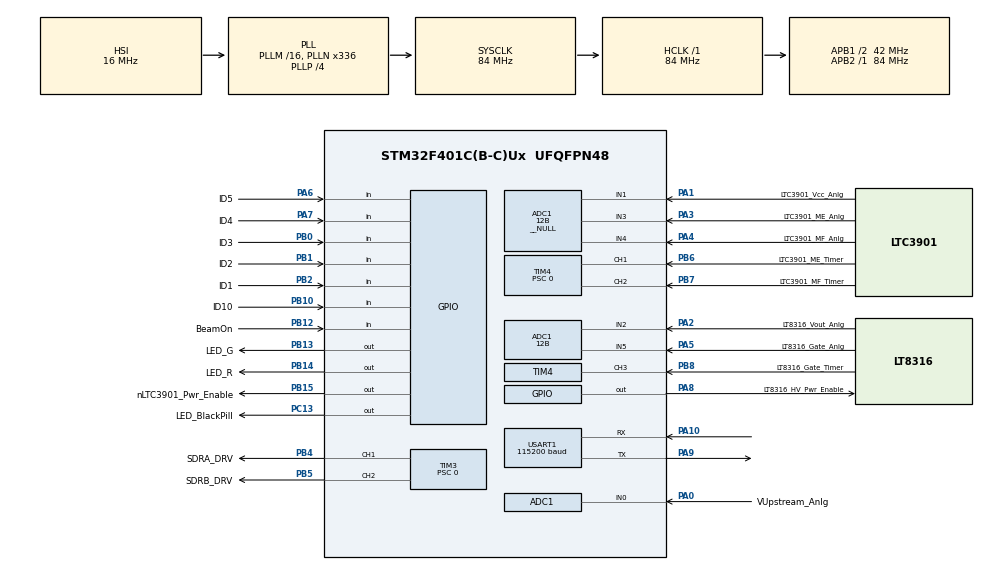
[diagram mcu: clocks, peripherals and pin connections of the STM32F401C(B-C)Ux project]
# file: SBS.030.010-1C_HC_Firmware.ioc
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ADC1.Channel-IN0=ADC_CHANNEL_0
ADC1.Channel-IN1=ADC_CHANNEL_1
ADC1.Channel-IN2=ADC_CHANNEL_2
ADC1.Channel-IN3=ADC_CHANNEL_3
ADC1.Channel-IN4=ADC_CHANNEL_4
ADC1.Channel-IN5=ADC_CHANNEL_5
ADC1.ClockPrescaler=ADC_CLOCK_SYNC_PCLK_DIV4
ADC1.ContinuousConvMode=DISABLE
ADC1.DMAContinuousRequests=DISABLE
ADC1.DataAlign=ADC_DATAALIGN_RIGHT
ADC1.DiscontinuousConvMode=DISABLE
ADC1.EOCSelection=ADC_EOC_SINGLE_CONV
ADC1.EnableAnalogWatchDog=false
ADC1.ExternalTrigConv=ADC_SOFTWARE_START
ADC1.ExternalTrigConvEdge=ADC_EXTERNALTRIGCONVEDGE_NONE
ADC1.InjNumberOfConversion=0
ADC1.Mode=__NULL
ADC1.NbrOfConversion=1
ADC1.Rank-0\#ChannelRegularConversion=1
ADC1.Resolution=ADC_RESOLUTION_12B
ADC1.SamplingTime-0\#ChannelRegularConversion=ADC_SAMPLETIME_3CYCLES
ADC1.ScanConvMode=DISABLE
ADC1.master=1
Dma.Request0=USART1_RX
Dma.Request1=TIM4_CH3
Dma.TIM4_CH3.1.Direction=DMA_PERIPH_TO_MEMORY
Dma.TIM4_CH3.1.FIFOMode=DMA_FIFOMODE_DISABLE
Dma.TIM4_CH3.1.Instance=DMA1_Stream7
Dma.TIM4_CH3.1.MemDataAlignment=DMA_MDATAALIGN_HALFWORD
Dma.TIM4_CH3.1.MemInc=DMA_MINC_ENABLE
Dma.TIM4_CH3.1.Mode=DMA_NORMAL
Dma.TIM4_CH3.1.PeriphDataAlignment=DMA_PDATAALIGN_HALFWORD
Dma.TIM4_CH3.1.PeriphInc=DMA_PINC_DISABLE
Dma.TIM4_CH3.1.Priority=DMA_PRIORITY_LOW
Dma.USART1_RX.0.Direction=DMA_PERIPH_TO_MEMORY
Dma.USART1_RX.0.FIFOMode=DMA_FIFOMODE_DISABLE
Dma.USART1_RX.0.Instance=DMA2_Stream2
Dma.USART1_RX.0.MemDataAlignment=DMA_MDATAALIGN_BYTE
Dma.USART1_RX.0.MemInc=DMA_MINC_ENABLE
Dma.USART1_RX.0.Mode=DMA_CIRCULAR
Dma.USART1_RX.0.PeriphDataAlignment=DMA_PDATAALIGN_BYTE
Dma.USART1_RX.0.PeriphInc=DMA_PINC_DISABLE
Dma.USART1_RX.0.Priority=DMA_PRIORITY_LOW
Mcu.Family=STM32F4
Mcu.Name=STM32F401C(B-C)Ux
Mcu.Package=UFQFPN48
NVIC.DMA1_Stream7_IRQn=true\:0\:0\:false\:false\:true\:false\:true\:true
NVIC.DMA2_Stream2_IRQn=true\:0\:0\:false\:false\:true\:false\:true\:true
NVIC.PriorityGroup=NVIC_PRIORITYGROUP_4
NVIC.USART1_IRQn=true\:0\:0\:false\:false\:true\:true\:true\:true
PA0-WKUP.GPIO_Label=VUpstream_Anlg
PA0-WKUP.Signal=ADCx_IN0
PA1.GPIO_Label=LTC3901_Vcc_Anlg
PA1.Signal=ADCx_IN1
PA10.Mode=Asynchronous
PA10.Signal=USART1_RX
PA13.Mode=Serial_Wire
PA13.Signal=SYS_JTMS-SWDIO
PA14.Mode=Serial_Wire
PA14.Signal=SYS_JTCK-SWCLK
PA2.GPIO_Label=LT8316_Vout_Anlg
PA2.Signal=ADCx_IN2
PA3.GPIO_Label=LTC3901_ME_Anlg
PA3.Signal=ADCx_IN3
PA4.GPIO_Label=LTC3901_MF_Anlg
PA4.Signal=ADCx_IN4
PA5.GPIO_Label=LT8316_Gate_Anlg
PA5.Signal=ADCx_IN5
PA6.GPIO_Label=ID5
PA6.Signal=GPIO_Input
PA7.GPIO_Label=ID4
PA7.Signal=GPIO_Input
PA8.GPIO_Label=LT8316_HV_Pwr_Enable
PA8.PinState=GPIO_PIN_SET
PA8.Signal=GPIO_Output
PA9.Mode=Asynchronous
PA9.Signal=USART1_TX
PB0.GPIO_Label=ID3
PB0.Signal=GPIO_Input
PB1.GPIO_Label=ID2
PB1.Signal=GPIO_Input
PB10.GPIO_Label=ID10
PB10.Signal=GPIO_Input
PB12.GPIO_Label=BeamOn
PB12.Signal=GPIO_Input
PB13.GPIO_Label=LED_G
PB13.PinState=GPIO_PIN_SET
PB13.Signal=GPIO_Output
PB14.GPIO_Label=LED_R
PB14.PinState=GPIO_PIN_SET
PB14.Signal=GPIO_Output
PB15.GPIO_Label=nLTC3901_Pwr_Enable
PB15.Signal=GPIO_Output
PB2.GPIO_Label=ID1
PB2.Signal=GPIO_Input
PB4.GPIO_Label=SDRA_DRV
PB4.Signal=S_TIM3_CH1
PB5.GPIO_Label=SDRB_DRV
PB5.Signal=S_TIM3_CH2
PB6.GPIO_Label=LTC3901_ME_Timer
PB6.Signal=S_TIM4_CH1
PB7.GPIO_Label=LTC3901_MF_Timer
PB7.Signal=S_TIM4_CH2
PB8.GPIO_Label=LT8316_Gate_Timer
PB8.Signal=S_TIM4_CH3
PC13-ANTI_TAMP.GPIO_Label=LED_BlackPill
PC13-ANTI_TAMP.PinState=GPIO_PIN_SET
PC13-ANTI_TAMP.Signal=GPIO_Output
PC14-OSC32_IN.Mode=LSE-External-Oscillator
PC14-OSC32_IN.Signal=RCC_OSC32_IN
PC15-OSC32_OUT.Mode=LSE-External-Oscillator
PC15-OSC32_OUT.Signal=RCC_OSC32_OUT
PH0\ -\ OSC_IN.Mode=HSE-External-Oscillator
PH0\ -\ OSC_IN.Signal=RCC_OSC_IN
PH1\ -\ OSC_OUT.Mode=HSE-External-Oscillator
PH1\ -\ OSC_OUT.Signal=RCC_OSC_OUT
ProjectManager.HeapSize=0x200
ProjectManager.StackSize=0x400
ProjectManager.TargetToolchain=Makefile
RCC.48MHZClocksFreq_Value=48000000
RCC.AHBFreq_Value=84000000
RCC.APB1CLKDivider=RCC_HCLK_DIV2
RCC.APB1Freq_Value=42000000
RCC.APB1TimFreq_Value=84000000
RCC.APB2Freq_Value=84000000
RCC.APB2TimFreq_Value=84000000
RCC.CortexFreq_Value=84000000
RCC.HCLKFreq_Value=84000000
RCC.HSE_VALUE=25000000
RCC.HSI_VALUE=16000000
RCC.PLLM=25
RCC.PLLN=336
RCC.PLLP=RCC_PLLP_DIV4
RCC.PLLQ=7
RCC.PLLSourceVirtual=RCC_PLLSOURCE_HSE
RCC.SYSCLKFreq_VALUE=84000000
RCC.SYSCLKSource=RCC_SYSCLKSOURCE_PLLCLK
RCC.VCOOutputFreq_Value=336000000
SH.ADCx_IN0.0=ADC1_IN0,IN0
SH.ADCx_IN1.0=ADC1_IN1,IN1
SH.ADCx_IN2.0=ADC1_IN2,IN2
SH.ADCx_IN3.0=ADC1_IN3,IN3
SH.ADCx_IN4.0=ADC1_IN4,IN4
SH.ADCx_IN5.0=ADC1_IN5,IN5
SH.S_TIM3_CH1.0=TIM3_CH1,Output Compare1 CH1
SH.S_TIM3_CH2.0=TIM3_CH2,Output Compare2 CH2
SH.S_TIM4_CH1.0=TIM4_CH1,Input_Capture1_from_TI1
SH.S_TIM4_CH2.0=TIM4_CH2,Input_Capture2_from_TI2
SH.S_TIM4_CH3.0=TIM4_CH3,Input_Capture3_from_TI3
TIM2.AutoReloadPreload=TIM_AUTORELOAD_PRELOAD_DISABLE
TIM2.ClockDivision=TIM_CLOCKDIVISION_DIV1
TIM2.CounterMode=TIM_COUNTERMODE_UP
TIM2.Period=4294967295
TIM2.Prescaler=0
TIM2.TIM_MasterOutputTrigger=TIM_TRGO_RESET
TIM2.TIM_MasterSlaveMode=TIM_MASTERSLAVEMODE_DISABLE
TIM3.AutoReloadPreload=TIM_AUTORELOAD_PRELOAD_DISABLE
TIM3.Channel-Output\ Compare1\ CH1=TIM_CHANNEL_1
TIM3.Channel-Output\ Compare2\ CH2=TIM_CHANNEL_2
TIM3.ClockDivision=TIM_CLOCKDIVISION_DIV1
TIM3.CounterMode=TIM_COUNTERMODE_UP
TIM3.OC1Preload=DISABLE
TIM3.OC2Preload=DISABLE
TIM3.OCMode_1=TIM_OCMODE_TIMING
TIM3.OCMode_2=TIM_OCMODE_TIMING
TIM3.OCPolarity_1=TIM_OCPOLARITY_HIGH
TIM3.OCPolarity_2=TIM_OCPOLARITY_HIGH
TIM3.Period=65535
TIM3.Prescaler=0
TIM3.Pulse-Output\ Compare1\ CH1=0
TIM3.Pulse-Output\ Compare2\ CH2=0
TIM3.TIM_MasterOutputTrigger=TIM_TRGO_RESET
TIM3.TIM_MasterSlaveMode=TIM_MASTERSLAVEMODE_DISABLE
TIM4.AutoReloadPreload=TIM_AUTORELOAD_PRELOAD_DISABLE
TIM4.Channel-Input_Capture1_from_TI1=TIM_CHANNEL_1
TIM4.Channel-Input_Capture2_from_TI2=TIM_CHANNEL_2
TIM4.Channel-Input_Capture3_from_TI3=TIM_CHANNEL_3
TIM4.Channel-Input_Capture4_from_TI3_63=TIM_CHANNEL_4
TIM4.ClockDivision=TIM_CLOCKDIVISION_DIV1
TIM4.CounterMode=TIM_COUNTERMODE_UP
TIM4.ICFilter_CH1=0
TIM4.ICFilter_CH2=0
TIM4.ICFilter_CH3=0
TIM4.ICPolarity_CH1=TIM_INPUTCHANNELPOLARITY_RISING
TIM4.ICPolarity_CH2=TIM_INPUTCHANNELPOLARITY_RISING
TIM4.ICPolarity_CH3=TIM_INPUTCHANNELPOLARITY_RISING
TIM4.ICPrescaler-Input_Capture1_from_TI1=TIM_ICPSC_DIV1
TIM4.ICPrescaler-Input_Capture2_from_TI2=TIM_ICPSC_DIV1
TIM4.ICPrescaler-Input_Capture3_from_TI3=TIM_ICPSC_DIV1
TIM4.ICSelection-Input_Capture1_from_TI1=TIM_ICSELECTION_DIRECTTI
TIM4.ICSelection-Input_Capture2_from_TI2=TIM_ICSELECTION_DIRECTTI
TIM4.ICSelection-Input_Capture3_from_TI3=TIM_ICSELECTION_DIRECTTI
TIM4.Period=65535
TIM4.Prescaler=0
TIM4.TIM_MasterOutputTrigger=TIM_TRGO_RESET
TIM4.TIM_MasterSlaveMode=TIM_MASTERSLAVEMODE_DISABLE
USART1.BaudRate=115200
USART1.Mode=MODE_TX_RX
USART1.OverSampling=UART_OVERSAMPLING_16
USART1.Parity=PARITY_NONE
USART1.StopBits=STOPBITS_1
USART1.VirtualMode=VM_ASYNC
USART1.WordLength=WORDLENGTH_8B
VP_ADC1_TempSens_Input.Mode=IN-TempSens
VP_ADC1_Vref_Input.Mode=IN-Vrefint
VP_TIM2_VS_ClockSourceINT.Mode=Internal
VP_TIM4_VS_indirect_ch3.Mode=Input_Capture4_from_TI3_63
board=custom

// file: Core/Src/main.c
/* USER CODE BEGIN Header */
/**
  ******************************************************************************
  * @file           : main.c
  * @brief          : Main program body
  ******************************************************************************
  * @attention
  *
  * Copyright (c) 2026 STMicroelectronics.
  * All rights reserved.
  *
  * This software is licensed under terms that can be found in the LICENSE file
  * in the root directory of this software component.
  * If no LICENSE file comes with this software, it is provided AS-IS.
  *
  ******************************************************************************
  */
/* USER CODE END Header */
#include "main.h"
#include "adc.h"
#include "dma.h"
#include "tim.h"
#include "usart.h"
#include "gpio.h"

/* USER CODE BEGIN Includes */
#include "UartIO.h"
#include "TimeSinceBoot.h"
#include "Rfc5424.h"
#include "Stimulus.h"
#include "terminal.h"
#include <stdio.h>
/* USER CODE END Includes */
/* USER CODE END Includes */

/* USER CODE BEGIN PV */
static uint32_t last_tsb_report_ms = 0U;
static uint8_t g_device_id = 0U;
static volatile const char *g_error_context = "reset";
static volatile uint8_t g_uart1_ready = 0U;
/* USER CODE END PV */

void SystemClock_Config(void);
/* USER CODE BEGIN PFP */
static void FormatTsb(char *out, size_t out_size, uint32_t tsb_ms);
int __io_getchar(void);
int __io_putchar(int ch);

/* USER CODE BEGIN 0 */
static void FormatTsb(char *out, size_t out_size, uint32_t tsb_ms)
{
  uint32_t total_seconds = tsb_ms / 1000U;
  uint32_t ms = tsb_ms % 1000U;
  uint32_t days = total_seconds / 86400U;
  uint32_t hours = (total_seconds % 86400U) / 3600U;
  uint32_t minutes = (total_seconds % 3600U) / 60U;
  uint32_t seconds = total_seconds % 60U;

  snprintf(out, out_size, "%08lu %02lu:%02lu:%02lu.%03lu",
           (unsigned long)days,
           (unsigned long)hours,
           (unsigned long)minutes,
           (unsigned long)seconds,
           (unsigned long)ms);
}
/* USER CODE END 0 */

int main(void)
{
  /* USER CODE BEGIN 1 */
  char rfc5424_app_name[8];
  char tsb_text[32];
  /* USER CODE END 1 */

  /* MCU Configuration--------------------------------------------------------*/

  /* Reset of all peripherals, Initializes the Flash interface and the Systick. */
  HAL_Init();

  /* Configure the system clock */
  SystemClock_Config();

  /* Initialize all configured peripherals */
  MX_GPIO_Init();
  MX_DMA_Init();
  MX_ADC1_Init();
  MX_TIM2_Init();
  MX_TIM3_Init();
  MX_TIM4_Init();
  MX_USART1_UART_Init();

  /* USER CODE BEGIN 2 */
  g_uart1_ready = 1U;
  UartIO_Init(&huart1);
    printf("\r\nUART1 Initialized\r\n");
//  TSB_Init();
  Terminal_DebugCheckpoint("TSB_Init_done", &g_error_context);

  while (1) {
    HAL_GPIO_TogglePin(LED_BlackPill_GPIO_Port, LED_BlackPill_Pin);
    HAL_Delay(500U);
  }

  snprintf(rfc5424_app_name, sizeof(rfc5424_app_name), "ID=%02u", (unsigned)(g_device_id & 0x3FU));
  RFC5424_Init("-", rfc5424_app_name, "-", "BOOT");
  Terminal_DebugCheckpoint("RFC5424_Init_done", &g_error_context);

  if (ADC1_StartContinuousDma() != HAL_OK)
  {
    g_error_context = "ADC1_StartContinuousDma_failed";
    Error_Handler();
  }
  Terminal_DebugCheckpoint("ADC1_StartContinuousDma_done", &g_error_context);

  if (Stimulus_Init() != HAL_OK)
  {
    g_error_context = "Stimulus_Init_failed";
    Error_Handler();
  }
  Terminal_DebugCheckpoint("Stimulus_Init_done", &g_error_context);

  if (Stimulus_SetFrequencyHz(1000U) != HAL_OK)
  {
    g_error_context = "Stimulus_SetFrequency_failed";
    Error_Handler();
  }
  Terminal_DebugCheckpoint("Stimulus_SetFrequency_done", &g_error_context);

  if (Stimulus_SetMode(STIMULUS_MODE_OPPOSED) != HAL_OK)
  {
    g_error_context = "Stimulus_SetMode_failed";
    Error_Handler();
  }
  Terminal_DebugCheckpoint("Stimulus_SetMode_done", &g_error_context);

  if (Stimulus_Start() != HAL_OK)
  {
    g_error_context = "Stimulus_Start_failed";
    Error_Handler();
  }
  Terminal_DebugCheckpoint("Stimulus_Start_done", &g_error_context);

  FormatTsb(tsb_text, sizeof(tsb_text), TSB_GetMs());
  RFC5424_Logf(SYSLOG_FACILITY_LOCAL0,
               SYSLOG_SEV_INFO,
               "BOOT",
               "%s - BOOTING... SDRA/SDRB stimulus started at %lu Hz mode=%u ADC[%u,%u,%u,%u,%u,%u]",
               tsb_text,
               (unsigned long)Stimulus_GetFrequencyHz(),
               (unsigned)Stimulus_GetMode(),
               g_adc1_samples[0],
               g_adc1_samples[1],
               g_adc1_samples[2],
               g_adc1_samples[3],
               g_adc1_samples[4],
               g_adc1_samples[5]);
  /* USER CODE END 2 */

  /* Infinite loop */
  while (1)
  {

    /* USER CODE BEGIN 3 */
    uint32_t tsb_ms = TSB_GetMs();
    int c = __io_getchar();

    if (c != EOF)
    {
      __io_putchar((uint8_t)c);
    }

    if ((tsb_ms - last_tsb_report_ms) >= 1000U)
    {
      last_tsb_report_ms = tsb_ms;
      FormatTsb(tsb_text, sizeof(tsb_text), tsb_ms);
      RFC5424_Logf(SYSLOG_FACILITY_LOCAL0,
                   SYSLOG_SEV_INFO,
                   "BOOT",
                   "%s - STIM f=%luHz mode=%u ADC[%u,%u,%u,%u,%u,%u]",
                   tsb_text,
                   (unsigned long)Stimulus_GetFrequencyHz(),
                   (unsigned)Stimulus_GetMode(),
                   g_adc1_samples[0],
                   g_adc1_samples[1],
                   g_adc1_samples[2],
                   g_adc1_samples[3],
                   g_adc1_samples[4],
                   g_adc1_samples[5]);
      HAL_GPIO_TogglePin(GPIOC, GPIO_PIN_13);
    }

    HAL_Delay(100);
    /* USER CODE END 3 */
  }
}

void SystemClock_Config(void)
{
  RCC_OscInitTypeDef RCC_OscInitStruct = {0};
  RCC_ClkInitTypeDef RCC_ClkInitStruct = {0};

  __HAL_RCC_PWR_CLK_ENABLE();
  __HAL_PWR_VOLTAGESCALING_CONFIG(PWR_REGULATOR_VOLTAGE_SCALE2);

  RCC_OscInitStruct.OscillatorType = RCC_OSCILLATORTYPE_HSI;
  RCC_OscInitStruct.HSIState = RCC_HSI_ON;
  RCC_OscInitStruct.HSICalibrationValue = RCC_HSICALIBRATION_DEFAULT;
  RCC_OscInitStruct.PLL.PLLState = RCC_PLL_ON;
  RCC_OscInitStruct.PLL.PLLSource = RCC_PLLSOURCE_HSI;
  RCC_OscInitStruct.PLL.PLLM = 16;
  RCC_OscInitStruct.PLL.PLLN = 336;
  RCC_OscInitStruct.PLL.PLLP = RCC_PLLP_DIV4;
  RCC_OscInitStruct.PLL.PLLQ = 7;
  if (HAL_RCC_OscConfig(&RCC_OscInitStruct) != HAL_OK)
  {
    g_error_context = "HAL_RCC_OscConfig_failed";
    Error_Handler();
  }

  RCC_ClkInitStruct.ClockType = RCC_CLOCKTYPE_HCLK|RCC_CLOCKTYPE_SYSCLK
                              |RCC_CLOCKTYPE_PCLK1|RCC_CLOCKTYPE_PCLK2;
  RCC_ClkInitStruct.SYSCLKSource = RCC_SYSCLKSOURCE_PLLCLK;
  RCC_ClkInitStruct.AHBCLKDivider = RCC_SYSCLK_DIV1;
  RCC_ClkInitStruct.APB1CLKDivider = RCC_HCLK_DIV2;
  RCC_ClkInitStruct.APB2CLKDivider = RCC_HCLK_DIV1;

  if (HAL_RCC_ClockConfig(&RCC_ClkInitStruct, FLASH_LATENCY_2) != HAL_OK)
  {
    g_error_context = "HAL_RCC_ClockConfig_failed";
    Error_Handler();
  }
}

void Error_Handler(void)
{
  /* USER CODE BEGIN Error_Handler_Debug */
  __disable_irq();
  if (g_uart1_ready != 0U)
  {
    Terminal_ErrorWrite("\r\nERROR_HANDLER:");
    Terminal_ErrorWriteVolatile(g_error_context);
    Terminal_ErrorWrite("\r\n");
  }

  while (1)
  {
    HAL_GPIO_TogglePin(GPIOC, GPIO_PIN_13);
    if (g_uart1_ready != 0U)
    {
      Terminal_ErrorWrite("ERROR_HANDLER:alive\r\n");
    }
    HAL_Delay(250U);
  }
  /* USER CODE END Error_Handler_Debug */
}
